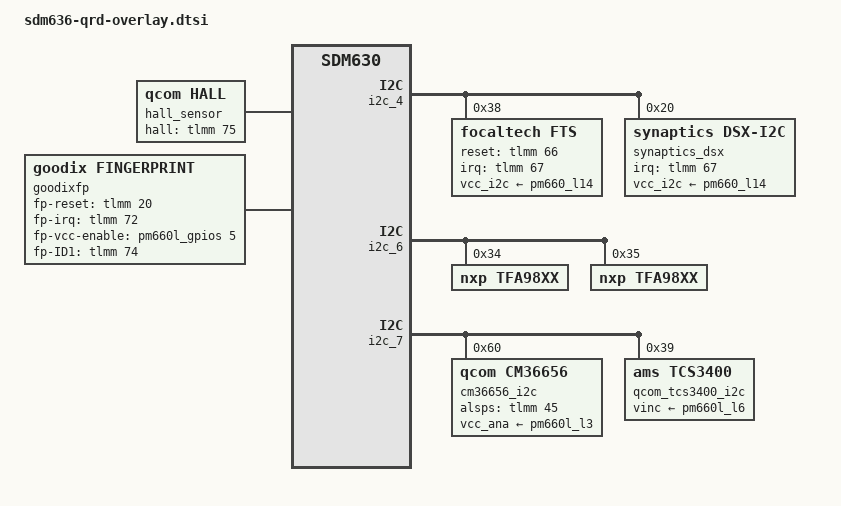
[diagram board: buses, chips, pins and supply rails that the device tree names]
/* SPDX-License-Identifier: GPL-2.0 */

/* Copyright (c) 2017, The Linux Foundation. All rights reserved.
 *
 * This program is free software; you can redistribute it and/or modify
 * it under the terms of the GNU General Public License version 2 and
 * only version 2 as published by the Free Software Foundation.
 *
 * This program is distributed in the hope that it will be useful,
 * but WITHOUT ANY WARRANTY; without even the implied warranty of
 * MERCHANTABILITY or FITNESS FOR A PARTICULAR PURPOSE.  See the
 * GNU General Public License for more details.
 */

#include "sdm630-qrd-overlay.dtsi"
#include "sdm660-pinctrl-overlay.dtsi"
#include "sdm630-camera-sensor-qrd-overlay.dtsi"
#include "sdm660-camera-sensor-qrd-overlay.dtsi"

&pm660l_gpios {
    gpio@c400 {
        reg = <0xc400 0x100>;
        qcom,pin-num = <5>;
        status = "ok";
    };
};

&i2c_4 {
	status = "okay";
	focaltech@38 {
		compatible = "focaltech,fts";
		//compatible = "focaltech,ft3517";
		reg = <0x38>;
		interrupt-parent = <&tlmm>;
		interrupts = <67 0x2008>;
		//vdd-supply = <&pm660l_l3>;
		vcc_i2c-supply = <&pm660_l14>;
		/* pins used by touchscreen */
		/*pinctrl-names = "pmx_ts_active","pmx_ts_suspend","pmx_ts_release";
		pinctrl-0 = <&ts_active>;
		pinctrl-1 = <&ts_suspend>;
		//pinctrl-2 = <&ts_release>;*/
		focaltech,name = "ft8716";
		//focaltech,family-id = <0x58>;
		focaltech,reset-gpio = <&tlmm 66 0x0>;
		focaltech,irq-gpio = <&tlmm 67 0x0>;
		focaltech,display-coords = <0 0 1080 1920>;
		focaltech,display-coords-ara = <0 0 1080 2246>;
		//focaltech,panel-coords = <0 0 1080 1920>;
		//focaltech,button-map= <139 102 158>;
		focaltech,have-key;
		focaltech,key-number = <3>;
		focaltech,max-touch-number = <10>;
		focaltech,keys = <158 102 139>;
		focaltech,key-y-coord = <2000>;
		focaltech,key-x-coord = <200 400 600>;
	};

	synaptics_dsx@20 {
		compatible = "synaptics,dsx-i2c";
		reg = <0x20>;
		interrupt-parent = <&tlmm>;
		interrupts = <67 0x2008>;
		vcc_i2c-supply = <&pm660_l14>;
		//synaptics,pwr-reg-name = "vdd_ana";
		synaptics,bus-reg-name = "vcc_i2c";
		synaptics,irq-gpio = <&tlmm 67 0x2008>;
		//synaptics,reset-gpio  = <&tlmm 66 0x0>;
		synaptics,irq-on-state = <0>;
		synaptics,irq-flags = <0x2008>; // IRQF_ONESHOT | IRQF_TRIGGER_LOW
		synaptics,power-delay-ms = <200>;
		synaptics,reset-delay-ms = <200>;
		synaptics,reset-on-state = <0>;
		synaptics,reset-active-ms = <20>;
		synaptics,ub-i2c-addr = <0x2c>;
		// uncomment and update line below as appropriate if there are 0D buttons
		synaptics,cap-button-codes = <158 139 139>;
		// uncomment and update lines below as appropriate if there are virtual buttons
		// synaptics,vir-button-codes = <102 100 900 100 60 158 300 900 100 60>;
		// synaptics,max-y-for-2d = <800>;
	};
};

&i2c_6 {
        status = "okay";
	tfa98xx@34 {
		compatible = "nxp,tfa98xx";
		reg = <0x34>;
	};
	tfa98xx@35 {
		compatible = "nxp,tfa98xx";
		reg = <0x35>;
	};
};

&i2c_7 {
	status = "okay";
	cm36656_i2c@60 {
		compatible = "qcom,cm36656";
		reg = <0x60>;
		pinctrl-names = "alsps_gpio_high","alsps_gpio_low";
		pinctrl-0 = <&cm36656_default>;
		pinctrl-1 = <&cm36656_sleep>;
		qcom,alsps-gpio = <&tlmm 45 0x0>;
		vcc_ana-supply = <&pm660l_l3>;
	};

	qcom_tcs3400_i2c@39 {
		compatible = "ams,tcs3400";
		reg = <0x39>;
		vinc-supply=<&pm660l_l6>;
	};
};

&soc {
	hall_sensor {
        compatible = "qcom,hall";
        pinctrl-names = "hall_gpio_high","hall_gpio_low";
        pinctrl-0 = <&gpio_hall_active>;
        pinctrl-1 = <&gpio_hall_suspend>;
        qcom,hall-gpio = <&tlmm 75 0x0>;
    };

	goodixfp {
		compatible = "goodix,fingerprint";
		fp-reset-gpio = <&tlmm 20 0x0>;
		fp-irq-gpio = <&tlmm 72 0x2008>;
		fp-vcc-enable-gpio = <&pm660l_gpios 5 0x0>;
		fp-ID1-gpio = <&tlmm 74 0x0>;
		/* Pinctrl Setting */
		qcom,use-pinctrl;
		pinctrl-names = "fp_default", "fp_sleep";
		pinctrl-0 = <&fp_int_active>;
		pinctrl-1 = <&fp_int_suspend>;
	};
};
